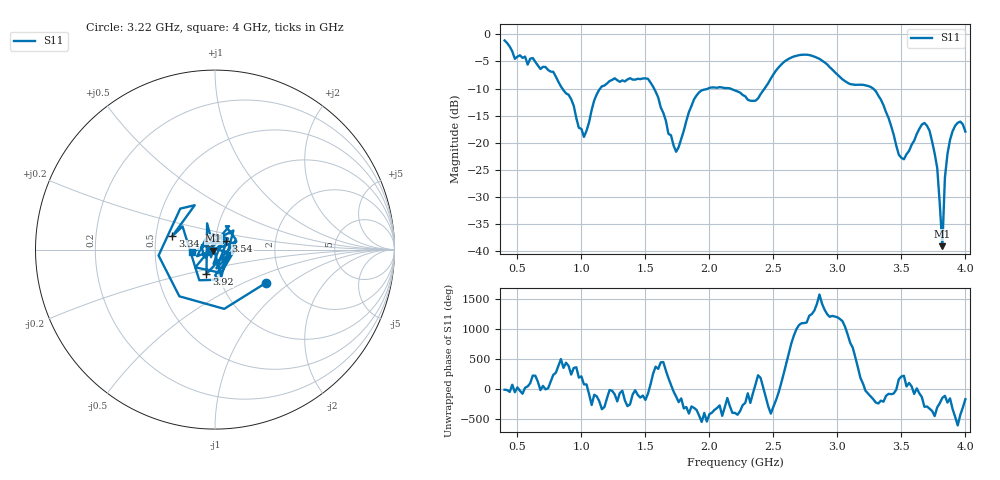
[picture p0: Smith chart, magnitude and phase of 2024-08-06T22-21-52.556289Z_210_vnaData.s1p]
!Created with skrf (http://scikit-rf.org).
# Hz S RI R 50.0
!freq ReS11 ImS11
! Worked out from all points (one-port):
!   181 points, 400 MHz to 4 GHz, reference 50 ohm
!   lowest |S11| = -39.1 dB at 3.82 GHz (marker M1), VSWR 1.02, Z = 49 - j0.53 ohm
!   |S11| at or under -10 dB: 851.4 MHz to 1.146 GHz (295 MHz wide, 29.5 % of centre); 1.568 GHz to 1.989 GHz (421.4 MHz wide, 23.7 % of centre); 3.28 GHz to end of sweep (the widest 3 of 4)
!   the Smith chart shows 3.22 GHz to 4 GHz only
!   S11 on the Smith chart (normalised r, x): 3.22 GHz: 1.61, -0.68; 3.34 GHz: 0.61, +0.10; 3.54 GHz: 1.12, +0.11; 3.92 GHz: 0.88, -0.24; 4 GHz: 0.78, -0.02
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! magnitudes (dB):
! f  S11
! 400 MHz  -1.1
! 480 MHz  -4.5
! 860 MHz  -10.3
! 1.02 GHz  -18.9
! 1.14 GHz  -10.2
! 1.3 GHz  -8.8
! 1.52 GHz  -8.2
! 1.74 GHz  -21.7
! 1.76 GHz  -20.8
! 1.92 GHz  -10.7
! 2.2 GHz  -10.3
! 2.36 GHz  -12.2
! 2.66 GHz  -4.1
! 2.86 GHz  -4.5
! 3.1 GHz  -9.2
! 3.22 GHz  -9.4
! 3.34 GHz  -12.1
! 3.48 GHz  -22.2
! 3.54 GHz  -22.1
! 3.56 GHz  -21.5
! 3.66 GHz  -16.6
! 3.72 GHz  -17.8
! 3.78 GHz  -24.7
! 3.82 GHz  -39.1
! 3.84 GHz  -26.4
! 3.88 GHz  -19.5
! 3.92 GHz  -16.9
! 4 GHz  -17.9
